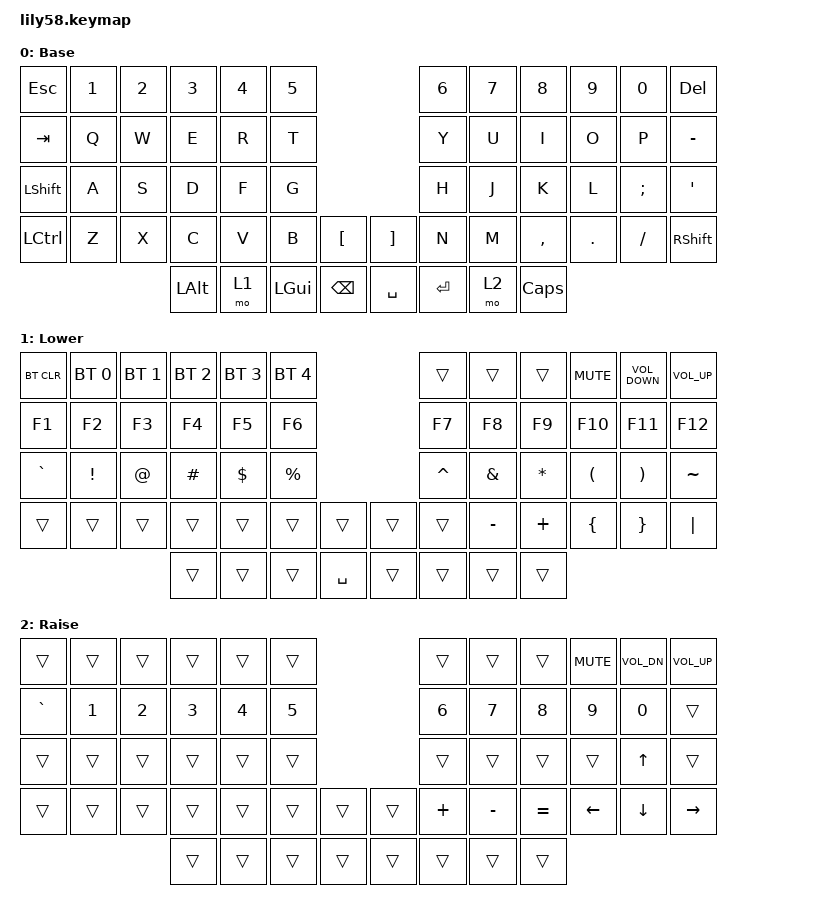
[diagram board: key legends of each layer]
/*
 * Copyright (c) 2020 The ZMK Contributors
 *
 * SPDX-License-Identifier: MIT
 */

#include <behaviors.dtsi>
#include <dt-bindings/zmk/bt.h>
#include <dt-bindings/zmk/keys.h>

/ {
    keymap {
        compatible = "zmk,keymap";

        updated_base {
            // ------------------------------------------------------------------------------------------------------------
            // |  ESC  |  1  |  2  |  3   |  4   |  5   |                   |  6   |  7    |  8    |  9   |   0   |   `   |
            // |  TAB  |  Q  |  W  |  E   |  R   |  T   |                   |  Y   |  U    |  I    |  O   |   P   |   -   |
            // |  CTRL |  A  |  S  |  D   |  F   |  G   |                   |  H   |  J    |  K    |  L   |   ;   |   '   |
            // | SHIFT |  Z  |  X  |  C   |  V   |  B   |   "["  |  |  "]"  |  N   |  M    |  ,    |  .   |   /   | SHIFT |
            //                     | ALT  | GUI  | LOWER|  SPACE |  | ENTER | RAISE| BSPC  | GUI   |

            display-name = "Base";
            bindings = <
&kp ESC           &kp N1  &kp N2  &kp N3    &kp N4  &kp N5                                    &kp N6      &kp N7  &kp N8        &kp N9   &kp N0    &kp DELETE
&kp TAB           &kp Q   &kp W   &kp E     &kp R   &kp T                                     &kp Y       &kp U   &kp I         &kp O    &kp P     &kp MINUS
&kp LEFT_SHIFT    &kp A   &kp S   &kp D     &kp F   &kp G                                     &kp H       &kp J   &kp K         &kp L    &kp SEMI  &kp SQT
&kp LEFT_CONTROL  &kp Z   &kp X   &kp C     &kp V   &kp B         &kp LBKT         &kp RBKT   &kp N       &kp M   &kp COMMA     &kp DOT  &kp FSLH  &kp RSHFT
                                  &kp LALT  &mo 1   &kp LEFT_GUI  &kp BACKSPACE    &kp SPACE  &kp RETURN  &mo 2   &kp CAPSLOCK
            >;
        };

        lower_layer {
            // ------------------------------------------------------------------------------------------------------------
            // | BTCLR | BT1 | BT2 |  BT3 |  BT4 |  BT5 |                   |      |       |       |      |       |       |
            // |  F1   |  F2 |  F3 |  F4  |  F5  |  F6  |                   |  F7  |  F8   |  F9   |  F10 |  F11  |  F12  |
            // |   `   |  !  |  @  |  #   |  $   |  %   |                   |  ^   |  &    |  *    |  (   |   )   |   ~   |
            // |       |     |     |      |      |      |        |  |       |      |  _    |  +    |  {   |   }   |  "|"  |
            //                     |      |      |      |        |  |       |      |       |       |

            display-name = "Lower";
            bindings = <
&bt BT_CLR  &bt BT_SEL 0  &bt BT_SEL 1  &bt BT_SEL 2  &bt BT_SEL 3  &bt BT_SEL 4                       &trans     &trans     &trans        &kp C_MUTE  &kp C_VOLUME_DOWN  &kp C_VOLUME_UP
&kp F1      &kp F2        &kp F3        &kp F4        &kp F5        &kp F6                             &kp F7     &kp F8     &kp F9        &kp F10     &kp F11            &kp F12
&kp GRAVE   &kp EXCL      &kp AT        &kp HASH      &kp DOLLAR    &kp PRCNT                          &kp CARET  &kp AMPS   &kp ASTERISK  &kp LPAR    &kp RPAR           &kp TILDE
&trans      &trans        &trans        &trans        &trans        &trans        &trans       &trans  &trans     &kp MINUS  &kp PLUS      &kp LBRC    &kp RBRC           &kp PIPE
                                        &trans        &trans        &trans        &kp SPACE    &trans  &trans     &trans     &trans
            >;
        };

        raise_layer {
            // ------------------------------------------------------------------------------------------------------------
            // |       |     |     |      |      |      |                   |      |       |       |      |       |       |
            // |   `   |  1  |  2  |  3   |  4   |  5   |                   |  6   |   7   |   8   |  9   |   0   |       |
            // |   F1  |  F2 |  F3 |  F4  |  F5  |  F6  |                   |      |   <-  |   v   |  ^   |  ->   |       |
            // |   F7  |  F8 |  F9 |  F10 |  F11 |  F12 |        |  |       |  +   |   -   |   =   |  [   |   ]   |   \   |
            //                     |      |      |      |        |  |       |      |       |       |

            display-name = "Raise";
            bindings = <
&trans     &trans  &trans  &trans  &trans  &trans                    &trans    &trans     &trans     &kp C_MUTE  &kp C_VOL_DN  &kp C_VOLUME_UP
&kp GRAVE  &kp N1  &kp N2  &kp N3  &kp N4  &kp N5                    &kp N6    &kp N7     &kp N8     &kp N9      &kp N0        &trans
&trans     &trans  &trans  &trans  &trans  &trans                    &trans    &trans     &trans     &trans      &kp UP_ARROW  &trans
&trans     &trans  &trans  &trans  &trans  &trans  &trans    &trans  &kp PLUS  &kp MINUS  &kp EQUAL  &kp LEFT    &kp DOWN      &kp RIGHT
                           &trans  &trans  &trans  &trans    &trans  &trans    &trans     &trans
            >;
        };
    };
};
